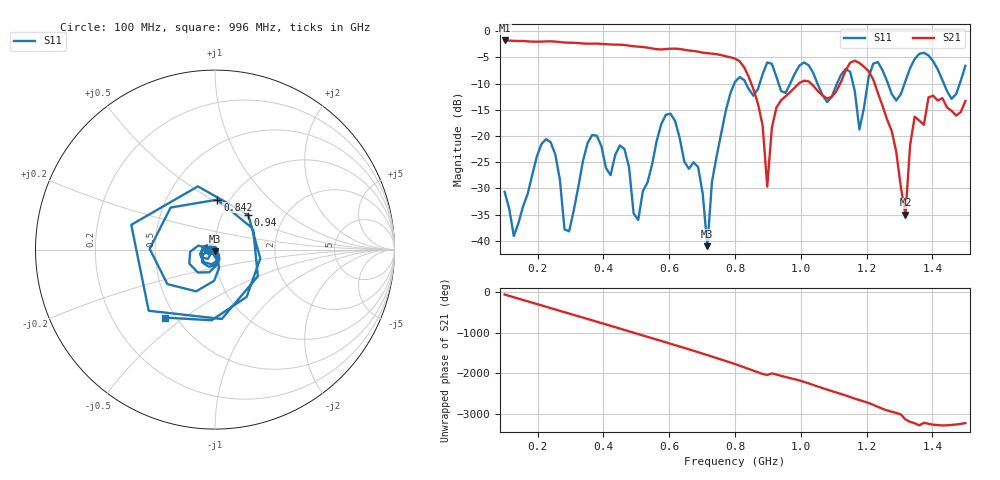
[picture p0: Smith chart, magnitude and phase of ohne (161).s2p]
! NanoVNA-App
! Date: 2025-09-25 14:22:03
! Start: 100MHz Stop: 1,5GHz Points: 101
! S-Parameter data: F S11 S21 S12 S22
# Hz S RI R 50
!  Frequency  S11_Real  S11_Imag  S21_Real  S21_Imag  S12_Real  S12_Imag  S22_Real  S22_Imag
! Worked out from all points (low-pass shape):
!   101 points, 100 MHz to 1.5 GHz, reference 50 ohm
!   highest |S21| = -1.79 dB at 100 MHz (marker M1); lowest = -35.0 dB at 1.318 GHz (marker M2)
!   |S21| within 3 dB of the highest: start of sweep to 771.3 MHz
!   lowest |S11| = -41.0 dB at 716 MHz (marker M3), VSWR 1.02, Z = 49.9 - j0.877 ohm
!   |S11| at or under -10 dB: start of sweep to 798 MHz; 833.2 MHz to 875.1 MHz (41.91 MHz wide, 4.91 % of centre); 1.05 GHz to 1.11 GHz (59.65 MHz wide, 5.52 % of centre) (the widest 3 of 7)
!   S12 and S22 are empty: the file has one direction only
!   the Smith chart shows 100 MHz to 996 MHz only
!   S11 on the Smith chart (normalised r, x): 100 MHz: 0.94, -0.01; 842 MHz: 0.88, +0.53; 940 MHz: 1.32, +0.55; 996 MHz: 0.44, -0.43
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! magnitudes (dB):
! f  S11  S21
! 100 MHz  -30.6  -1.8
! 128 MHz  -39.1  -1.9
! 226 MHz  -20.6  -2.0
! 296 MHz  -38.2  -2.2
! 338 MHz  -24.8  -2.4
! 464 MHz  -22.5  -2.7
! 506 MHz  -36.0  -3.0
! 576 MHz  -17.7  -3.5
! 688 MHz  -25.9  -3.9
! 716 MHz  -41.0  -4.2
! 800 MHz  -9.7  -5.3
! 842 MHz  -11.1  -8.8
! 898 MHz  -6.0  -29.7
! 940 MHz  -11.4  -13.2
! 996 MHz  -6.6  -9.9
! 1.038 GHz  -8.0  -10.4
! 1.178 GHz  -18.8  -6.1
! 1.22 GHz  -6.2  -9.2
! 1.276 GHz  -12.0  -19.0
! 1.318 GHz  -9.5  -35.0
! 1.346 GHz  -5.3  -16.3
! 1.5 GHz  -6.6  -13.3
